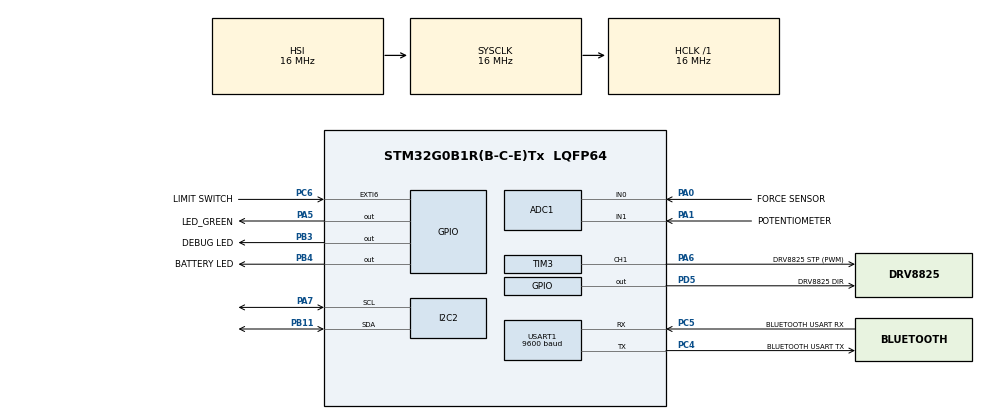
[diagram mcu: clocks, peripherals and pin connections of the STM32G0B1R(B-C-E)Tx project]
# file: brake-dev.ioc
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ADC1.Channel-0\#ChannelRegularConversion=ADC_CHANNEL_0
ADC1.Channel-1\#ChannelRegularConversion=ADC_CHANNEL_1
ADC1.ContinuousConvMode=DISABLE
ADC1.DiscontinuousConvMode=ENABLE
ADC1.NbrOfConversion=2
ADC1.NbrOfConversionFlag=1
ADC1.Rank-0\#ChannelRegularConversion=1
ADC1.Rank-1\#ChannelRegularConversion=2
ADC1.SamplingTime-0\#ChannelRegularConversion=ADC_SAMPLINGTIME_COMMON_1
ADC1.SamplingTime-1\#ChannelRegularConversion=ADC_SAMPLINGTIME_COMMON_1
ADC1.SelectedChannel=ADC_CHANNEL_0|ADC_CHANNEL_1
ADC1.master=1
Dma.ADC1.0.Direction=DMA_PERIPH_TO_MEMORY
Dma.ADC1.0.EventEnable=DISABLE
Dma.ADC1.0.Instance=DMA1_Channel1
Dma.ADC1.0.MemDataAlignment=DMA_MDATAALIGN_HALFWORD
Dma.ADC1.0.MemInc=DMA_MINC_ENABLE
Dma.ADC1.0.Mode=DMA_CIRCULAR
Dma.ADC1.0.PeriphDataAlignment=DMA_PDATAALIGN_HALFWORD
Dma.ADC1.0.PeriphInc=DMA_PINC_DISABLE
Dma.ADC1.0.Polarity=HAL_DMAMUX_REQ_GEN_RISING
Dma.ADC1.0.Priority=DMA_PRIORITY_LOW
Dma.ADC1.0.RequestNumber=1
Dma.ADC1.0.SignalID=NONE
Dma.ADC1.0.SyncEnable=DISABLE
Dma.ADC1.0.SyncPolarity=HAL_DMAMUX_SYNC_NO_EVENT
Dma.ADC1.0.SyncRequestNumber=1
Dma.ADC1.0.SyncSignalID=NONE
Dma.Request0=ADC1
Mcu.Family=STM32G0
Mcu.Name=STM32G0B1R(B-C-E)Tx
Mcu.Package=LQFP64
Mcu.UserConstants=FAST_PERIOD,1000;SLOW_PERIOD,2000
NVIC.DMA1_Channel1_IRQn=true\:0\:0\:false\:false\:true\:false\:true\:true
NVIC.EXTI4_15_IRQn=true\:0\:0\:false\:false\:true\:true\:true\:true
NVIC.TIM14_IRQn=true\:0\:0\:false\:false\:true\:true\:true\:true
NVIC.TIM16_FDCAN_IT0_IRQn=true\:0\:0\:false\:false\:true\:true\:true\:true
NVIC.USART1_IRQn=true\:0\:0\:false\:false\:true\:true\:true\:true
PA0.GPIO_Label=FORCE SENSOR
PA0.Mode=IN0
PA0.Signal=ADC1_IN0
PA1.GPIO_Label=POTENTIOMETER
PA1.Mode=IN1
PA1.Signal=ADC1_IN1
PA13.GPIO_Label=TMS
PA13.Mode=Serial_Wire
PA13.Signal=SYS_SWDIO
PA14-BOOT0.GPIO_Label=TCK
PA14-BOOT0.Mode=Serial_Wire
PA14-BOOT0.Signal=SYS_SWCLK
PA5.GPIO_Label=LED_GREEN
PA5.GPIO_Speed=GPIO_SPEED_FREQ_HIGH
PA5.Signal=GPIO_Output
PA6.GPIO_Label=DRV8825 STP (PWM)
PA6.Signal=S_TIM3_CH1
PA7.Mode=I2C
PA7.Signal=I2C2_SCL
PB11.Mode=I2C
PB11.Signal=I2C2_SDA
PB3.GPIO_Label=DEBUG LED
PB3.Signal=GPIO_Output
PB4.GPIO_Label=BATTERY LED
PB4.Signal=GPIO_Output
PC13.Mode=SYS_WakeUp1
PC13.Signal=SYS_WKUP2
PC14-OSC32_IN\ (PC14).Mode=LSE-External-Oscillator
PC14-OSC32_IN\ (PC14).Signal=RCC_OSC32_IN
PC15-OSC32_OUT\ (PC15).Mode=LSE-External-Oscillator
PC15-OSC32_OUT\ (PC15).Signal=RCC_OSC32_OUT
PC4.GPIO_Label=BLUETOOTH USART TX
PC4.Mode=Asynchronous
PC4.Signal=USART1_TX
PC5.GPIO_Label=BLUETOOTH USART RX
PC5.Mode=Asynchronous
PC5.Signal=USART1_RX
PC6.GPIO_Label=LIMIT SWITCH
PC6.Signal=GPXTI6
PD5.GPIO_Label=DRV8825 DIR
PD5.Signal=GPIO_Output
PF0-OSC_IN\ (PF0).GPIO_Label=MCO
PF0-OSC_IN\ (PF0).Mode=HSE-External-Clock-Source
PF0-OSC_IN\ (PF0).Signal=RCC_OSC_IN
ProjectManager.HeapSize=0x200
ProjectManager.StackSize=0x400
ProjectManager.TargetToolchain=STM32CubeIDE
RCC.AHBFreq_Value=16000000
RCC.CortexFreq_Value=16000000
RCC.EXTERNAL_CLOCK_VALUE=12288000
RCC.HCLKFreq_Value=16000000
RCC.HSE_VALUE=8000000
RCC.HSI48_VALUE=48000000
RCC.HSI_VALUE=16000000
RCC.SYSCLKFreq_VALUE=16000000
RCC.USBFreq_Value=48000000
RCC.VCOOutputFreq_Value=128000000
SH.S_TIM3_CH1.0=TIM3_CH1,PWM Generation1 CH1
TIM14.Period=SLOW_PERIOD
TIM14.Prescaler=15
TIM16.Period=FAST_PERIOD
TIM16.Prescaler=15
TIM3.Channel-PWM\ Generation1\ CH1=TIM_CHANNEL_1
TIM3.Period=200
TIM3.Prescaler=15
USART1.BaudRate=9600
USART1.VirtualMode-Asynchronous=VM_ASYNC
VP_TIM14_VS_ClockSourceINT.Mode=Enable_Timer
VP_TIM16_VS_ClockSourceINT.Mode=Enable_Timer
board=NUCLEO-G0B1RE

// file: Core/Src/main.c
/* USER CODE BEGIN Header */
/**
  ******************************************************************************
  * @file           : main.c
  * @brief          : Main program body
  ******************************************************************************
  * @attention
  *
  * Copyright (c) 2022 STMicroelectronics.
  * All rights reserved.
  *
  * This software is licensed under terms that can be found in the LICENSE file
  * in the root directory of this software component.
  * If no LICENSE file comes with this software, it is provided AS-IS.
  *
  ******************************************************************************
  */
/* USER CODE END Header */
#include "main.h"

/* USER CODE BEGIN Includes */

#include "adc_sensor.h"
#include "force_sensor.h"
#include "imu.h"
#include "interrupt_timer.h"
#include "joint.h"
#include "motor.h"
#include "potentiometer.h"
#include "skater.h"
#include "pwm_timer_data.h"
#include "wireless.h"
#include <stdbool.h>
#include <string.h>

/* USER CODE END Includes */

ADC_HandleTypeDef hadc1;
DMA_HandleTypeDef hdma_adc1;

I2C_HandleTypeDef hi2c2;

TIM_HandleTypeDef htim3;
TIM_HandleTypeDef htim14;
TIM_HandleTypeDef htim16;

UART_HandleTypeDef huart1;

/* USER CODE BEGIN PV */

ADCSensor *adc_sensor = NULL;
IMU *imu = NULL;
Motor *motor = NULL;
Potentiometer *potentiometer = NULL;
Joint *joint = NULL;
ForceSensor *force_sensor = NULL;
Skater *skater = NULL;
Wireless *wireless = NULL;
PinData* motor_direction_pin = NULL;
PWMTimer* motor_pwm_timer = NULL;
InterruptTimer* slow_interrupt_timer = NULL;
InterruptTimer* fast_interrupt_timer = NULL;
uint8_t uart_buffer[30];
char last_message[30];
bool send_message_flag = false;

/* USER CODE END PV */

void SystemClock_Config(void);
static void MX_GPIO_Init(void);
static void MX_DMA_Init(void);
static void MX_ADC1_Init(void);
static void MX_USART1_UART_Init(void);
static void MX_TIM14_Init(void);
static void MX_TIM16_Init(void);
static void MX_TIM3_Init(void);
static void MX_I2C2_Init(void);

/* USER CODE BEGIN 0 */

void HAL_UART_RxCpltCallback(UART_HandleTypeDef *huart) {
	HAL_NVIC_DisableIRQ(USART1_IRQn);
	memcpy(last_message, uart_buffer, sizeof(last_message));
	HAL_NVIC_EnableIRQ(USART1_IRQn);
	HAL_UART_Receive_IT(huart, uart_buffer, 30);
	__HAL_UART_CLEAR_OREFLAG(huart);
	__HAL_UART_CLEAR_NEFLAG(huart);
	HAL_NVIC_ClearPendingIRQ(USART1_IRQn);
	if (last_message[1] == 'D') {
		//Expected $DESIRED_ANGLE_CMD,<target>
		char delim[] = ",";
		char *identifier = strtok(last_message, delim);
		if (!strcmp(identifier,"$DESIRED_ANGLE_CMD")){
			if (!is_skater_gone(skater)) {
				float target = atof(strtok(NULL,delim));
				set_joint_target(joint, target);
			}
		}
	}
}

void HAL_GPIO_EXTI_Callback(uint16_t GPIO_Pin) {
	// This is the limit switch callback function.
	// If the limit switch is hit, then the joint should be zeroed.
	if (GPIO_Pin == LIMIT_SWITCH_Pin) {
		zero_joint(joint);
	}
}

void HAL_TIM_PeriodElapsedCallback(TIM_HandleTypeDef *htim) {
	if (htim == fast_interrupt_timer->timer) {
		move_joint_to_target(joint);
		send_message_flag = true;
	}
	if (htim == slow_interrupt_timer->timer) {
		HAL_GPIO_WritePin(DEBUG_LED_GPIO_Port, DEBUG_LED_Pin, GPIO_PIN_SET);
		update_adc_sensor_values(adc_sensor);
		refresh_skater_status(skater);
		refresh_joint_angle(joint);
		if (is_skater_gone(skater)) {
			set_joint_target(joint, AUTOMATIC_BRAKING_ANGLE_DEGREES);
		}
		HAL_GPIO_WritePin(DEBUG_LED_GPIO_Port, DEBUG_LED_Pin, GPIO_PIN_RESET);
	}
}

/* USER CODE END 0 */

int main(void)
{
  /* USER CODE BEGIN 1 */

	adc_sensor = new_adc_sensor(&hadc1, 2);
	imu = new_imu_sensor(&hi2c2);
	motor_direction_pin = new_pin_data(DRV8825_DIR_GPIO_Port, DRV8825_DIR_Pin);
	motor_pwm_timer = new_pwm_timer(&htim3, TIM_CHANNEL_1, &(TIM3->CCR1));
	motor = new_motor(motor_direction_pin, motor_pwm_timer);
	slow_interrupt_timer = new_interrupt_timer(&htim14);
	fast_interrupt_timer = new_interrupt_timer(&htim16);
	potentiometer = new_potentiometer(adc_sensor, 1);
	joint = new_joint(motor, potentiometer);
	force_sensor = new_force_sensor(adc_sensor, 0);
	skater = new_skater(force_sensor);
	wireless = new_wireless(&huart1);

  /* USER CODE END 1 */

  /* MCU Configuration--------------------------------------------------------*/

  /* Reset of all peripherals, Initializes the Flash interface and the Systick. */
  HAL_Init();

  /* Configure the system clock */
  SystemClock_Config();

  /* Initialize all configured peripherals */
  MX_GPIO_Init();
  MX_DMA_Init();
  MX_ADC1_Init();
  MX_USART1_UART_Init();
  MX_TIM14_Init();
  MX_TIM16_Init();
  MX_TIM3_Init();
  MX_I2C2_Init();
  /* USER CODE BEGIN 2 */

  start_pwm_timer(motor_pwm_timer);
  start_interrupt_timer(fast_interrupt_timer);
  start_interrupt_timer(slow_interrupt_timer);
  HAL_UART_Receive_IT(&huart1, uart_buffer, 30);

  /* USER CODE END 2 */

  /* Infinite loop */
  while (1)
  {

    /* USER CODE BEGIN 3 */
	  if (send_message_flag) {
		  float current_speed = 0.0f; // TODO - get actual speed
		  send_wireless_speed(wireless, current_speed);
		  send_message_flag = false;
	  }
  }
  /* USER CODE END 3 */
}

void SystemClock_Config(void)
{
  RCC_OscInitTypeDef RCC_OscInitStruct = {0};
  RCC_ClkInitTypeDef RCC_ClkInitStruct = {0};

  /** Configure the main internal regulator output voltage
  */
  HAL_PWREx_ControlVoltageScaling(PWR_REGULATOR_VOLTAGE_SCALE1);

  /** Initializes the RCC Oscillators according to the specified parameters
  * in the RCC_OscInitTypeDef structure.
  */
  RCC_OscInitStruct.OscillatorType = RCC_OSCILLATORTYPE_HSI;
  RCC_OscInitStruct.HSIState = RCC_HSI_ON;
  RCC_OscInitStruct.HSIDiv = RCC_HSI_DIV1;
  RCC_OscInitStruct.HSICalibrationValue = RCC_HSICALIBRATION_DEFAULT;
  RCC_OscInitStruct.PLL.PLLState = RCC_PLL_NONE;
  if (HAL_RCC_OscConfig(&RCC_OscInitStruct) != HAL_OK)
  {
    Error_Handler();
  }

  /** Initializes the CPU, AHB and APB buses clocks
  */
  RCC_ClkInitStruct.ClockType = RCC_CLOCKTYPE_HCLK|RCC_CLOCKTYPE_SYSCLK
                              |RCC_CLOCKTYPE_PCLK1;
  RCC_ClkInitStruct.SYSCLKSource = RCC_SYSCLKSOURCE_HSI;
  RCC_ClkInitStruct.AHBCLKDivider = RCC_SYSCLK_DIV1;
  RCC_ClkInitStruct.APB1CLKDivider = RCC_HCLK_DIV1;

  if (HAL_RCC_ClockConfig(&RCC_ClkInitStruct, FLASH_LATENCY_0) != HAL_OK)
  {
    Error_Handler();
  }
}

static void MX_ADC1_Init(void)
{

  ADC_ChannelConfTypeDef sConfig = {0};

  /** Configure the global features of the ADC (Clock, Resolution, Data Alignment and number of conversion)
  */
  hadc1.Instance = ADC1;
  hadc1.Init.ClockPrescaler = ADC_CLOCK_SYNC_PCLK_DIV2;
  hadc1.Init.Resolution = ADC_RESOLUTION_12B;
  hadc1.Init.DataAlign = ADC_DATAALIGN_RIGHT;
  hadc1.Init.ScanConvMode = ADC_SCAN_ENABLE;
  hadc1.Init.EOCSelection = ADC_EOC_SINGLE_CONV;
  hadc1.Init.LowPowerAutoWait = DISABLE;
  hadc1.Init.LowPowerAutoPowerOff = DISABLE;
  hadc1.Init.ContinuousConvMode = DISABLE;
  hadc1.Init.NbrOfConversion = 2;
  hadc1.Init.DiscontinuousConvMode = ENABLE;
  hadc1.Init.ExternalTrigConv = ADC_SOFTWARE_START;
  hadc1.Init.ExternalTrigConvEdge = ADC_EXTERNALTRIGCONVEDGE_NONE;
  hadc1.Init.DMAContinuousRequests = DISABLE;
  hadc1.Init.Overrun = ADC_OVR_DATA_PRESERVED;
  hadc1.Init.SamplingTimeCommon1 = ADC_SAMPLETIME_1CYCLE_5;
  hadc1.Init.SamplingTimeCommon2 = ADC_SAMPLETIME_1CYCLE_5;
  hadc1.Init.OversamplingMode = DISABLE;
  hadc1.Init.TriggerFrequencyMode = ADC_TRIGGER_FREQ_HIGH;
  if (HAL_ADC_Init(&hadc1) != HAL_OK)
  {
    Error_Handler();
  }

  /** Configure Regular Channel
  */
  sConfig.Channel = ADC_CHANNEL_0;
  sConfig.Rank = ADC_REGULAR_RANK_1;
  sConfig.SamplingTime = ADC_SAMPLINGTIME_COMMON_1;
  if (HAL_ADC_ConfigChannel(&hadc1, &sConfig) != HAL_OK)
  {
    Error_Handler();
  }

  /** Configure Regular Channel
  */
  sConfig.Channel = ADC_CHANNEL_1;
  sConfig.Rank = ADC_REGULAR_RANK_2;
  if (HAL_ADC_ConfigChannel(&hadc1, &sConfig) != HAL_OK)
  {
    Error_Handler();
  }

}

static void MX_I2C2_Init(void)
{

  hi2c2.Instance = I2C2;
  hi2c2.Init.Timing = 0x00303D5B;
  hi2c2.Init.OwnAddress1 = 0;
  hi2c2.Init.AddressingMode = I2C_ADDRESSINGMODE_7BIT;
  hi2c2.Init.DualAddressMode = I2C_DUALADDRESS_DISABLE;
  hi2c2.Init.OwnAddress2 = 0;
  hi2c2.Init.OwnAddress2Masks = I2C_OA2_NOMASK;
  hi2c2.Init.GeneralCallMode = I2C_GENERALCALL_DISABLE;
  hi2c2.Init.NoStretchMode = I2C_NOSTRETCH_DISABLE;
  if (HAL_I2C_Init(&hi2c2) != HAL_OK)
  {
    Error_Handler();
  }

  /** Configure Analogue filter
  */
  if (HAL_I2CEx_ConfigAnalogFilter(&hi2c2, I2C_ANALOGFILTER_ENABLE) != HAL_OK)
  {
    Error_Handler();
  }

  /** Configure Digital filter
  */
  if (HAL_I2CEx_ConfigDigitalFilter(&hi2c2, 0) != HAL_OK)
  {
    Error_Handler();
  }

}

static void MX_TIM3_Init(void)
{

  TIM_MasterConfigTypeDef sMasterConfig = {0};
  TIM_OC_InitTypeDef sConfigOC = {0};

  htim3.Instance = TIM3;
  htim3.Init.Prescaler = 15;
  htim3.Init.CounterMode = TIM_COUNTERMODE_UP;
  htim3.Init.Period = 200;
  htim3.Init.ClockDivision = TIM_CLOCKDIVISION_DIV1;
  htim3.Init.AutoReloadPreload = TIM_AUTORELOAD_PRELOAD_DISABLE;
  if (HAL_TIM_PWM_Init(&htim3) != HAL_OK)
  {
    Error_Handler();
  }
  sMasterConfig.MasterOutputTrigger = TIM_TRGO_RESET;
  sMasterConfig.MasterSlaveMode = TIM_MASTERSLAVEMODE_DISABLE;
  if (HAL_TIMEx_MasterConfigSynchronization(&htim3, &sMasterConfig) != HAL_OK)
  {
    Error_Handler();
  }
  sConfigOC.OCMode = TIM_OCMODE_PWM1;
  sConfigOC.Pulse = 0;
  sConfigOC.OCPolarity = TIM_OCPOLARITY_HIGH;
  sConfigOC.OCFastMode = TIM_OCFAST_DISABLE;
  if (HAL_TIM_PWM_ConfigChannel(&htim3, &sConfigOC, TIM_CHANNEL_1) != HAL_OK)
  {
    Error_Handler();
  }
  HAL_TIM_MspPostInit(&htim3);

}

static void MX_TIM14_Init(void)
{

  htim14.Instance = TIM14;
  htim14.Init.Prescaler = 15;
  htim14.Init.CounterMode = TIM_COUNTERMODE_UP;
  htim14.Init.Period = SLOW_PERIOD;
  htim14.Init.ClockDivision = TIM_CLOCKDIVISION_DIV1;
  htim14.Init.AutoReloadPreload = TIM_AUTORELOAD_PRELOAD_DISABLE;
  if (HAL_TIM_Base_Init(&htim14) != HAL_OK)
  {
    Error_Handler();
  }

}

static void MX_TIM16_Init(void)
{

  htim16.Instance = TIM16;
  htim16.Init.Prescaler = 15;
  htim16.Init.CounterMode = TIM_COUNTERMODE_UP;
  htim16.Init.Period = FAST_PERIOD;
  htim16.Init.ClockDivision = TIM_CLOCKDIVISION_DIV1;
  htim16.Init.RepetitionCounter = 0;
  htim16.Init.AutoReloadPreload = TIM_AUTORELOAD_PRELOAD_DISABLE;
  if (HAL_TIM_Base_Init(&htim16) != HAL_OK)
  {
    Error_Handler();
  }

}

static void MX_USART1_UART_Init(void)
{

  huart1.Instance = USART1;
  huart1.Init.BaudRate = 9600;
  huart1.Init.WordLength = UART_WORDLENGTH_8B;
  huart1.Init.StopBits = UART_STOPBITS_1;
  huart1.Init.Parity = UART_PARITY_NONE;
  huart1.Init.Mode = UART_MODE_TX_RX;
  huart1.Init.HwFlowCtl = UART_HWCONTROL_NONE;
  huart1.Init.OverSampling = UART_OVERSAMPLING_16;
  huart1.Init.OneBitSampling = UART_ONE_BIT_SAMPLE_DISABLE;
  huart1.Init.ClockPrescaler = UART_PRESCALER_DIV1;
  huart1.AdvancedInit.AdvFeatureInit = UART_ADVFEATURE_NO_INIT;
  if (HAL_UART_Init(&huart1) != HAL_OK)
  {
    Error_Handler();
  }
  if (HAL_UARTEx_SetTxFifoThreshold(&huart1, UART_TXFIFO_THRESHOLD_1_8) != HAL_OK)
  {
    Error_Handler();
  }
  if (HAL_UARTEx_SetRxFifoThreshold(&huart1, UART_RXFIFO_THRESHOLD_1_8) != HAL_OK)
  {
    Error_Handler();
  }
  if (HAL_UARTEx_DisableFifoMode(&huart1) != HAL_OK)
  {
    Error_Handler();
  }

}

static void MX_DMA_Init(void)
{

  /* DMA controller clock enable */
  __HAL_RCC_DMA1_CLK_ENABLE();

  /* DMA interrupt init */
  /* DMA1_Channel1_IRQn interrupt configuration */
  HAL_NVIC_SetPriority(DMA1_Channel1_IRQn, 0, 0);
  HAL_NVIC_EnableIRQ(DMA1_Channel1_IRQn);

}

static void MX_GPIO_Init(void)
{
  GPIO_InitTypeDef GPIO_InitStruct = {0};

  /* GPIO Ports Clock Enable */
  __HAL_RCC_GPIOC_CLK_ENABLE();
  __HAL_RCC_GPIOF_CLK_ENABLE();
  __HAL_RCC_GPIOA_CLK_ENABLE();
  __HAL_RCC_GPIOB_CLK_ENABLE();
  __HAL_RCC_GPIOD_CLK_ENABLE();

  /*Configure GPIO pin Output Level */
  HAL_GPIO_WritePin(LED_GREEN_GPIO_Port, LED_GREEN_Pin, GPIO_PIN_RESET);

  /*Configure GPIO pin Output Level */
  HAL_GPIO_WritePin(DRV8825_DIR_GPIO_Port, DRV8825_DIR_Pin, GPIO_PIN_RESET);

  /*Configure GPIO pin Output Level */
  HAL_GPIO_WritePin(GPIOB, DEBUG_LED_Pin|BATTERY_LED_Pin, GPIO_PIN_RESET);

  /*Configure GPIO pin : LED_GREEN_Pin */
  GPIO_InitStruct.Pin = LED_GREEN_Pin;
  GPIO_InitStruct.Mode = GPIO_MODE_OUTPUT_PP;
  GPIO_InitStruct.Pull = GPIO_NOPULL;
  GPIO_InitStruct.Speed = GPIO_SPEED_FREQ_HIGH;
  HAL_GPIO_Init(LED_GREEN_GPIO_Port, &GPIO_InitStruct);

  /*Configure GPIO pin : LIMIT_SWITCH_Pin */
  GPIO_InitStruct.Pin = LIMIT_SWITCH_Pin;
  GPIO_InitStruct.Mode = GPIO_MODE_IT_RISING;
  GPIO_InitStruct.Pull = GPIO_NOPULL;
  HAL_GPIO_Init(LIMIT_SWITCH_GPIO_Port, &GPIO_InitStruct);

  /*Configure GPIO pin : DRV8825_DIR_Pin */
  GPIO_InitStruct.Pin = DRV8825_DIR_Pin;
  GPIO_InitStruct.Mode = GPIO_MODE_OUTPUT_PP;
  GPIO_InitStruct.Pull = GPIO_NOPULL;
  GPIO_InitStruct.Speed = GPIO_SPEED_FREQ_LOW;
  HAL_GPIO_Init(DRV8825_DIR_GPIO_Port, &GPIO_InitStruct);

  /*Configure GPIO pins : DEBUG_LED_Pin BATTERY_LED_Pin */
  GPIO_InitStruct.Pin = DEBUG_LED_Pin|BATTERY_LED_Pin;
  GPIO_InitStruct.Mode = GPIO_MODE_OUTPUT_PP;
  GPIO_InitStruct.Pull = GPIO_NOPULL;
  GPIO_InitStruct.Speed = GPIO_SPEED_FREQ_LOW;
  HAL_GPIO_Init(GPIOB, &GPIO_InitStruct);

  /* EXTI interrupt init*/
  HAL_NVIC_SetPriority(EXTI4_15_IRQn, 0, 0);
  HAL_NVIC_EnableIRQ(EXTI4_15_IRQn);

}

void Error_Handler(void)
{
  __disable_irq();
  while (1)
  {
  }
}
